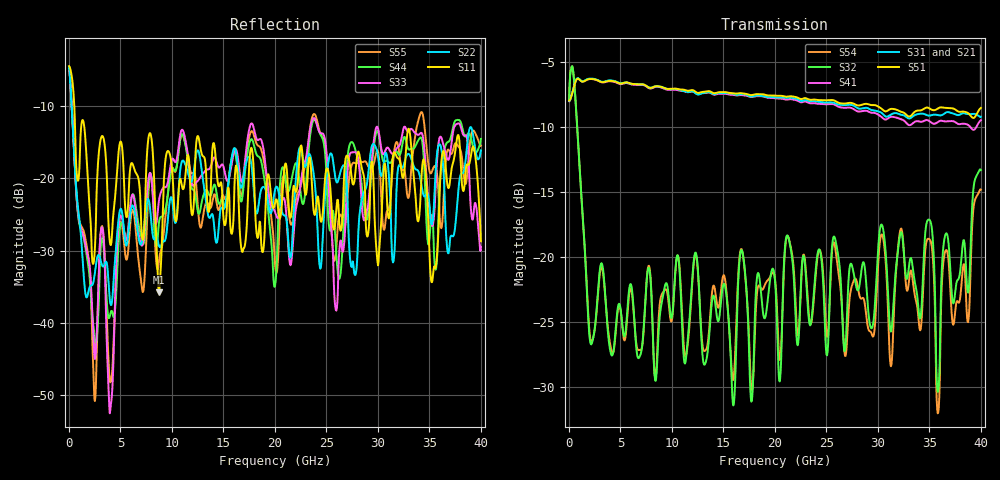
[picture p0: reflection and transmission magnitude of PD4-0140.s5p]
! MARKI MICROWAVE INC.
! Email:  info@markimicrowave.com  Phone:  408-778-4200
! Model Number:  PD4-0140  Date:  11/12
! Filename:		PD4_0140.S5P  Version: 1.0
! Description:  5-port S-parameter data for 4 Way Power Divider PD4-0140
! Frequency Range: 	10 MHz to 40 GHz
! Port Configuration:	PORT 1: COMMON
!  PORT 2: Output 1
!  Port 3: Output 2
!  Port 4: Output 3
!  Port 5: Output 4
! S5P File: Measurements: Mag<S11> Ang<S11> Mag<S12> Ang<S12> Mag<S13> Ang<S13> Mag<S14> Ang<S14> ! row 1
!  Mag<S15> Ang<S15>
!  Mag<S21> Ang<S21> Mag<S22> Ang<S22> Mag<S23> Ang<S23> Mag<S24> Ang<S24> ! row 2
!  Mag<S25> Ang<S25>
!  Mag<S31> Ang<S31> Mag<S32> Ang<S32> Mag<S33> Ang<S33> Mag<S34> Ang<S34> ! row 3
!  Mag<S35> Ang<S35>
!  Mag<S41> Ang<S41> Mag<S42> Ang<S42> Mag<S43> Ang<S43> Mag<S44> Ang<S44> ! row 4
!  Mag<S45> Ang<S45>
!  Mag<S51> Ang<S51> Mag<S52> Ang<S52> Mag<S53> Ang<S53> Mag<S54> Ang<S54> ! row 5
!  Mag<S55> Ang<S55>
# GHz S DB R 50
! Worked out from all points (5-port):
!   801 points, 10 MHz to 40 GHz, reference 50 ohm
!   strongest paths, dB at 10 MHz, 10.01 GHz, 20.01 GHz, 30.01 GHz, 40 GHz:
!     S51: -8.0, -7.0, -7.6, -8.4, -8.5
!     S31: -8.0, -7.1, -7.7, -8.8, -9.2
!     S21: -8.0, -7.1, -7.7, -8.8, -9.8
!     S41: -8.0, -7.1, -7.8, -9.0, -9.5
!     S32: -7.9, -24.6, -21.9, -19.5, -13.3
!     S54: -7.8, -24.8, -21.7, -20.7, -14.8
!   lowest |S11| = -35.8 dB at 8.71 GHz (marker M1), VSWR 1.03, Z = 49.5 - j1.53 ohm
!   |S11| at or under -10 dB: 510.4 MHz to end of sweep
